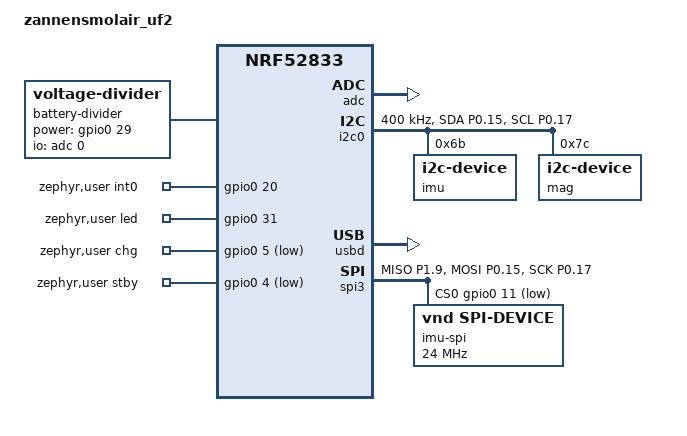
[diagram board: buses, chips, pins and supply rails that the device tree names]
// Copyright (c) 2024 Nordic Semiconductor ASA
// SPDX-License-Identifier: Apache-2.0

/dts-v1/;
#include <nordic/nrf52833_qdaa.dtsi>

&pinctrl {
	i2c0_default: i2c0_default {
		group1 {
			psels = <NRF_PSEL(TWIM_SDA, 0, 15)>, <NRF_PSEL(TWIM_SCL, 0, 17)>;
			bias-disable;
		};
	};

	i2c0_sleep: i2c0_sleep {
		group1 {
			psels = <NRF_PSEL(TWIM_SDA, 0, 15)>, <NRF_PSEL(TWIM_SCL, 0, 17)>;
			bias-disable;
			low-power-enable;
		};
	};

	spi3_default: spi3_default {
		group1 {
			psels = <NRF_PSEL(SPIM_MISO, 1, 9)>,
					<NRF_PSEL(SPIM_MOSI, 0, 15)>,
					<NRF_PSEL(SPIM_SCK, 0, 17)>;
		};
	};

	spi3_sleep: spi3_sleep {
		group1 {
			psels = <NRF_PSEL(SPIM_MISO, 1, 9)>,
					<NRF_PSEL(SPIM_MOSI, 0, 15)>,
					<NRF_PSEL(SPIM_SCK, 0, 17)>;
			low-power-enable;
		};
	};
};

/ {
	model = "zannensmolair_uf2";
	compatible = "zannensmolair_uf2";

	chosen {
		zephyr,sram = &sram0;
		zephyr,flash = &flash0;
		zephyr,console = &cdc_acm_uart0;
		zephyr,shell-uart = &cdc_acm_uart0;
	};

	battery-divider {
		compatible = "voltage-divider";
		status = "okay";
		io-channels = <&adc 0>; // ADC_IN on P0.02, VBAT through 150k/330k divider behind TPS22916
		output-ohms = <330000>;
		full-ohms = <480000>;
		power-gpios = <&gpio0 29 GPIO_ACTIVE_HIGH>; // ADC_EN, TPS22916 load switch ON
	};

	zephyr,user {
		int0-gpios = <&gpio0 20 0>; // LSM6DSV INT1
		led-gpios = <&gpio0 31 GPIO_ACTIVE_HIGH>; // single white LED, anode to P0.31
		chg-gpios = <&gpio0 5 (GPIO_ACTIVE_LOW | GPIO_PULL_UP)>; // BQ_STAT2, low = charging
		stby-gpios = <&gpio0 4 (GPIO_ACTIVE_LOW | GPIO_PULL_UP)>; // BQ_STAT1, low = charge complete
	};

};

&reg1 {
	regulator-initial-mode = <NRF5X_REG_MODE_DCDC>;
};

&adc {
	status = "okay";
};

&gpiote {
	status = "okay";
};

&gpio0 {
	status = "okay";
};

&gpio1 {
	status = "okay";
};

&i2c0 {
	compatible = "nordic,nrf-twim";
	status = "okay";
	zephyr,concat-buf-size = <1023>;
	zephyr,flash-buf-max-size = <1023>;
	clock-frequency = <I2C_BITRATE_FAST>;
	pinctrl-0 = <&i2c0_default>;
	pinctrl-1 = <&i2c0_sleep>;
	pinctrl-names = "default", "sleep";

	imu: imu@6b { // LSM6DSV, SA0 pulled high on hardware, address 0x6B
		compatible = "i2c-device";
		label = "imu";
		reg = <0x6B>;
	};

	mag: mag@7c { // QMC6309 on the IMU AUX I2C, visible through IMU passthrough
		compatible = "i2c-device";
		label = "mag";
		reg = <0x7C>;
	};

};

zephyr_udc0: &usbd {
	compatible = "nordic,nrf-usbd";
	status = "okay";
	cdc_acm_uart0: cdc_acm_uart0 {
		compatible = "zephyr,cdc-acm-uart";
	};
};

&nfct {
	status = "disabled";
};

&spi3 {
	compatible = "nordic,nrf-spim";
	status = "okay";
	max-frequency = <DT_FREQ_M(24)>;
	pinctrl-0 = <&spi3_default>;
	pinctrl-1 = <&spi3_sleep>;
	pinctrl-names = "default", "sleep";
	cs-gpios = <&gpio0 11 GPIO_ACTIVE_LOW>;

	imu_spi: imu_spi@0 {
		compatible = "vnd,spi-device";
		spi-max-frequency = <DT_FREQ_M(24)>; // driver configures 10 MHz at runtime
		label = "imu-spi";
		reg = <0>;
	};
};
